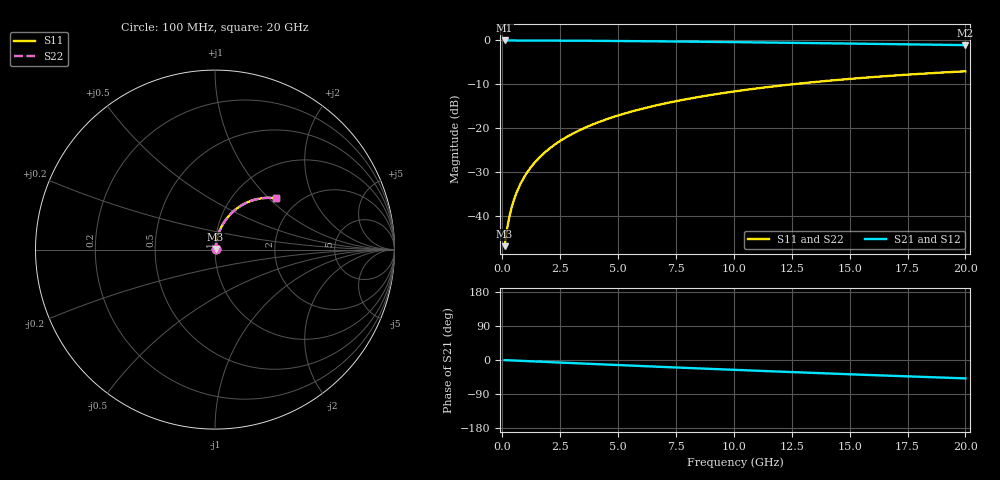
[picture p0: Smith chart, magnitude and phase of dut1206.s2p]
! Touchstone file exported from HFSS 2026.1.0
!  File:  C:/ffzhzh/LocalFiles/Ansys_Project_Files/temp_train_TMRDL_1206_1783163083_51560.aedt
!  Generated:  07:06:06 PM Jul  4, 2026
!  Design:  TMRDL
!  Project:  temp_train_TMRDL_1206_1783163083_51560
! Variables:
!  h_bsmrdl = 2um
!  h_ox = 20um
!  h_rdl = 5um
!  h_sub = 80um
!  h_tmrdl = 4.78um
!  h_tsv = 80um
!  h_via = 3um
!  l_bsmrdl = 300um
!  l_sub = 1129.93um
!  l_tmrdl = 729.93um
!  m_sub = 200um
!  pitch = 43.35um
!  r_tsv = 6um
!  s_tmrdl = 10um
!  w_bsmrdl = 18um
!  w_sub = 500um
!  w_tmrdl = 16.49um
!  x_tsv_center1 = 738.175um
!  x_tsv_center2 = 1056.175um
!  x_tsv_center3 = 1802.595um
!  x_tsv_center4 = 2120.595um
!  x_tsv_center5 = 2867.015um
!  x_tsv_center6 = 3185.015um
# GHz S MA R 50.000000
! Terminal data exported
! Port[1] = TM_RDL1_1_T1
! Port[2] = TM_RDL1_1_T2
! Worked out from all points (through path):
!   200 points, 100 MHz to 20 GHz, reference 50 ohm
!   highest |S21| = -0.03 dB at 100 MHz (marker M1); lowest = -1.1 dB at 20 GHz (marker M2)
!   group delay of S21, straight-line fit = 6.74 ps
!   lowest |S11| = -46.8 dB at 100 MHz (marker M3), VSWR 1.01, Z = 50.3 + j0.31 ohm
!   |S11| at or under -10 dB: start of sweep to 12.51 GHz
!   |S22| runs from -46.8 to -7.0 dB; largest |S21 - S12| = 4.2e-15
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0.1  0.004586 42.2  0.9966 -0.3  0.9966 -0.3  0.004586 42.2
! Gamma 0 0 0 0
! Port Impedance 50 0 50 0
0.2  0.007053 59.5  0.9965 -0.6  0.9965 -0.6  0.007053 59.5
0.3  0.009762 67.2  0.9963 -0.8  0.9963 -0.8  0.009761 67.2
0.4  0.01253 71.4  0.9962 -1.1  0.9962 -1.1  0.01253 71.4
0.5  0.01531 74.0  0.996 -1.4  0.996 -1.4  0.01531 74.0
0.6  0.01812 75.8  0.9959 -1.7  0.9959 -1.7  0.01812 75.8
0.8  0.02377 78.0  0.9957 -2.2  0.9957 -2.2  0.02377 78.0
1.1  0.0323 79.5  0.9953 -3.0  0.9953 -3.0  0.0323 79.5
1.5  0.04369 80.1  0.9946 -4.1  0.9946 -4.1  0.04369 80.1
1.8  0.05222 80.0  0.994 -4.9  0.994 -4.9  0.05222 80.0
2.1  0.06071 79.7  0.9933 -5.7  0.9933 -5.7  0.06071 79.7
2.7  0.07756 78.7  0.9916 -7.3  0.9916 -7.3  0.07756 78.7
3.5  0.09969 77.1  0.9889 -9.4  0.9889 -9.4  0.09969 77.1
4.2  0.1187 75.5  0.9862 -11.3  0.9862 -11.3  0.1187 75.5
5  0.14 73.6  0.9827 -13.4  0.9827 -13.4  0.14 73.6
5.9  0.1634 71.4  0.9783 -15.7  0.9783 -15.7  0.1634 71.4
6.8  0.1862 69.2  0.9736 -18.0  0.9736 -18.0  0.1862 69.3
8.3  0.2229 65.7  0.9649 -21.8  0.9649 -21.8  0.2229 65.7
10.1  0.2646 61.5  0.9535 -26.2  0.9535 -26.2  0.2646 61.5
13.4  0.3342 53.9  0.9305 -34.0  0.9305 -34.0  0.3341 54.0
16.7  0.3943 46.7  0.9062 -41.5  0.9062 -41.5  0.3943 46.8
20  0.4451 39.8  0.8824 -48.5  0.8824 -48.5  0.4451 39.9
